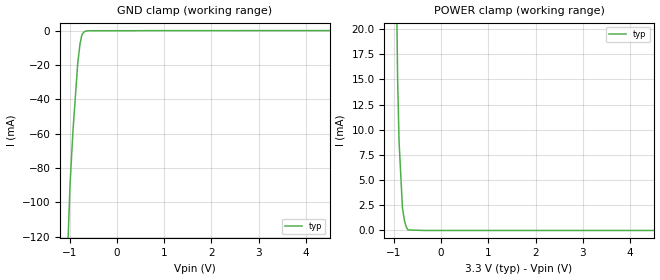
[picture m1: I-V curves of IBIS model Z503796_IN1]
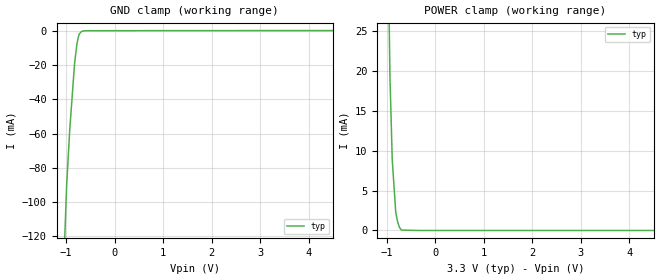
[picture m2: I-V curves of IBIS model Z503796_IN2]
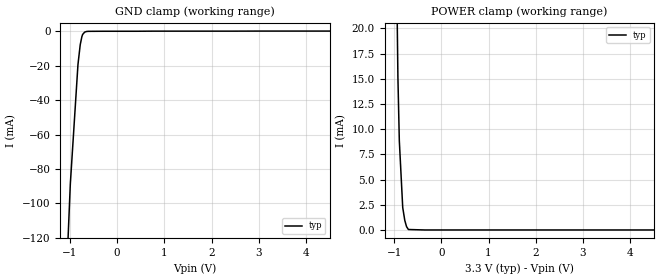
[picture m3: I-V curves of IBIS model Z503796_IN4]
| YOU ARE ONLY AUTHORIZED TO USE THIS SOFTWARE
| ACCORDING TO LICENSOR'S LICENSE RESTRICTIONS.
[IBIS Ver] 3.1
[File Name] mc74ac541n_33.ibs
[File Rev] 2.0
[Source] Measured and created by ICX Technology
[Date] Friday 7/14/00 9:08:00 AM
[Copyright]
| (C) COPYRIGHT 1993-2000
| MENTOR GRAPHICS CORPORATION
| ICX STANDARD LIBRARY, ICX PROJECT MODELING,
| ICX CUSTOM MODELING, ICX VENDOR MODEL
| ALL RIGHTS RESERVED.
| THE FOLLOWING ARE TRADEMARKS OR SERVICE MARKS OF
| MENTOR GRAPHICS CORPORATION:ICX (R), ICX STANDARD
| LIBRARY(R), ICX PROJECT MODELING(R), ICX CUSTOM
| MODELING(R), qualityIBIS(TM), MODELVIEWER(TM),
| AND MODELEDITOR(TM)
| ALL COPIES OF SOFTWARE, INCLUDING BUT NOT LIMITED TO
| ANY MODIFICATIONS, ENHANCEMENTS OR DERIVATIVE WORKS,
| MUST CONTAIN ALL MENTOR GRAPHICS CORPORATION'S
| NOTICES AND LEGENDS, INCLUDING THOSE EMBEDDED IN
| SOFTWARE AND THOSE AFFIXED TO SOFTWARE MEDIUM
| AND CONTAINER, AS RECEIVED FROM MENTOR GRAPHICS
| CORPORATION.
|  ZAP Model Builder 2.7
[Component] MC74AC541N_33
[Manufacturer] OnSemiconductor
[Package]
| variable   typ   min   max
R_pkg  .216ohms NA NA
L_pkg  5.76nH NA NA
C_pkg  1.29pF NA NA
[Pin] signal_name  model_name  R_pin  L_pin C_pin
1 _G1 Z503796_IN1 .232 9.76n 1.87p
2 A0 Z503796_IN2 .224 7.26n 1.58p
3 A1 Z503796_IN2 .216 5.26n 1.29p
4 A2 Z503796_IN2 .208 3.76n 1.0p
5 A3 Z503796_IN2 .2 2.76n .71p
6 A4 Z503796_IN2 .2 2.76n .71p
7 A5 Z503796_IN2 .208 3.76n 1.0p
8 A6 Z503796_IN2 .216 5.26n 1.29p
9 A7 Z503796_IN2 .224 7.26n 1.58p
10 GND GND .232 9.76n 1.87p
11 Y7 Z503796_TRI3 .232 9.76n 1.87p
12 Y6 Z503796_TRI3 .224 7.26n 1.58p
13 Y5 Z503796_TRI3 .216 5.26n 1.29p
14 Y4 Z503796_TRI3 .208 3.76n 1.0p
15 Y3 Z503796_TRI3 .2 2.76n .71p
16 Y2 Z503796_TRI3 .2 2.76n .71p
17 Y1 Z503796_TRI3 .208 3.76n 1.0p
18 Y0 Z503796_TRI3 .216 5.26n 1.29p
19 _G2 Z503796_IN4 .224 7.26n 1.58p
20 VCC POWER .232 9.76n 1.87p
| Models and submodels in the file (4): Z503796_IN1 (Input), Z503796_IN2 (Input), Z503796_IN4 (Input), Z503796_TRI3 (3-state)
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| (C) COPYRIGHT 1993-2000
| MENTOR GRAPHICS CORPORATION
| ICX STANDARD LIBRARY, ICX PROJECT MODELING,
| ICX CUSTOM MODELING, ICX VENDOR MODEL
| ALL RIGHTS RESERVED.
| THE FOLLOWING ARE TRADEMARKS OR SERVICE MARKS OF
| MENTOR GRAPHICS CORPORATION:ICX (R), ICX STANDARD
| LIBRARY(R), ICX PROJECT MODELING(R), ICX CUSTOM
| MODELING(R), qualityIBIS(TM), MODELVIEWER(TM),
| AND MODELEDITOR(TM)
| ALL COPIES OF SOFTWARE, INCLUDING BUT NOT LIMITED TO
| ANY MODIFICATIONS, ENHANCEMENTS OR DERIVATIVE WORKS,
| MUST CONTAIN ALL MENTOR GRAPHICS CORPORATION'S
| NOTICES AND LEGENDS, INCLUDING THOSE EMBEDDED IN
| SOFTWARE AND THOSE AFFIXED TO SOFTWARE MEDIUM
| AND CONTAINER, AS RECEIVED FROM MENTOR GRAPHICS
| CORPORATION.
| Model Application Version 1.89 2/18/99.
[Model] Z503796_IN1
Model_type Input
Vinl = 990.0mV
Vinh = 2.310V
C_comp 4.000pF NA NA
| variable typ   min   max
[Voltage Range] 3.300V NA NA
[GND Clamp Reference] 0.000V NA NA
[POWER Clamp Reference] 3.300V NA NA
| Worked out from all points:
|   GND clamp passes 1 mA (typ) near -0.71 V on its own axis
|   POWER clamp passes 1 mA (typ) near -0.78 V on its own axis
[GND Clamp]
-3.3V     -2.288A    NA         NA
-1.068V   -149.2mA   NA         NA
-990.9mV  -89.6mA    NA         NA
-927.6mV  -57.73mA   NA         NA
-828.8mV  -19.25mA   NA         NA
-781.2mV  -7.758mA   NA         NA
-747.3mV  -3.158mA   NA         NA
-730.7mV  -1.766mA   NA         NA
-687.2mV  -391.9uA   NA         NA
-610.2mV  85.06uA    NA         NA
-305.1mV  147.1uA    NA         NA
6.6V      227uA      NA         NA
[POWER Clamp]
-3.3V     2.248A     NA         NA
-1.117V   130.4mA    NA         NA
-1.006V   49.35mA    NA         NA
-920mV    15.26mA    NA         NA
-889mV    8.871mA    NA         NA
-817mV    2.24mA     NA         NA
-774mV    960uA      NA         NA
-736mV    346.9uA    NA         NA
-698mV    51uA       NA         NA
-349mV    0A         NA         NA
6.6V      0A         NA         NA
| (C) COPYRIGHT 1993-2000
| MENTOR GRAPHICS CORPORATION
| ICX STANDARD LIBRARY, ICX PROJECT MODELING,
| ICX CUSTOM MODELING, ICX VENDOR MODEL
| ALL RIGHTS RESERVED.
| THE FOLLOWING ARE TRADEMARKS OR SERVICE MARKS OF
| MENTOR GRAPHICS CORPORATION:ICX (R), ICX STANDARD
| LIBRARY(R), ICX PROJECT MODELING(R), ICX CUSTOM
| MODELING(R), qualityIBIS(TM), MODELVIEWER(TM),
| AND MODELEDITOR(TM)
| ALL COPIES OF SOFTWARE, INCLUDING BUT NOT LIMITED TO
| ANY MODIFICATIONS, ENHANCEMENTS OR DERIVATIVE WORKS,
| MUST CONTAIN ALL MENTOR GRAPHICS CORPORATION'S
| NOTICES AND LEGENDS, INCLUDING THOSE EMBEDDED IN
| SOFTWARE AND THOSE AFFIXED TO SOFTWARE MEDIUM
| AND CONTAINER, AS RECEIVED FROM MENTOR GRAPHICS
| CORPORATION.
| Model Application Version 1.89 2/18/99.
[Model] Z503796_IN2
Model_type Input
Vinl = 990.0mV
Vinh = 2.310V
C_comp 4.000pF NA NA
| variable typ   min   max
[Voltage Range] 3.300V NA NA
[GND Clamp Reference] 0.000V NA NA
[POWER Clamp Reference] 3.300V NA NA
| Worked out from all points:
|   GND clamp passes 1 mA (typ) near -0.71 V on its own axis
|   POWER clamp passes 1 mA (typ) near -0.77 V on its own axis
[GND Clamp]
-3.3V     -2.317A    NA         NA
-1.068V   -149.6mA   NA         NA
-990.7mV  -89.72mA   NA         NA
-927.6mV  -57.82mA   NA         NA
-829mV    -19.28mA   NA         NA
-781.1mV  -7.785mA   NA         NA
-747.2mV  -3.172mA   NA         NA
-730.7mV  -1.775mA   NA         NA
-687mV    -387.7uA   NA         NA
-610.3mV  88.87uA    NA         NA
-305.2mV  149.1uA    NA         NA
6.6V      231.6uA    NA         NA
[POWER Clamp]
-3.3V     2.094A     NA         NA
-1.109V   118.7mA    NA         NA
-1.007V   48.72mA    NA         NA
-936mV    19.24mA    NA         NA
-889mV    8.857mA    NA         NA
-817mV    2.263mA    NA         NA
-774mV    973.4uA    NA         NA
-736mV    339.5uA    NA         NA
-698mV    48.9uA     NA         NA
-349mV    0A         NA         NA
6.6V      0A         NA         NA
| (C) COPYRIGHT 1993-2000
| MENTOR GRAPHICS CORPORATION
| ICX STANDARD LIBRARY, ICX PROJECT MODELING,
| ICX CUSTOM MODELING, ICX VENDOR MODEL
| ALL RIGHTS RESERVED.
| THE FOLLOWING ARE TRADEMARKS OR SERVICE MARKS OF
| MENTOR GRAPHICS CORPORATION:ICX (R), ICX STANDARD
| LIBRARY(R), ICX PROJECT MODELING(R), ICX CUSTOM
| MODELING(R), qualityIBIS(TM), MODELVIEWER(TM),
| AND MODELEDITOR(TM)
| ALL COPIES OF SOFTWARE, INCLUDING BUT NOT LIMITED TO
| ANY MODIFICATIONS, ENHANCEMENTS OR DERIVATIVE WORKS,
| MUST CONTAIN ALL MENTOR GRAPHICS CORPORATION'S
| NOTICES AND LEGENDS, INCLUDING THOSE EMBEDDED IN
| SOFTWARE AND THOSE AFFIXED TO SOFTWARE MEDIUM
| AND CONTAINER, AS RECEIVED FROM MENTOR GRAPHICS
| CORPORATION.
| Model Application Version 1.89 2/18/99.
[Model] Z503796_IN4
Model_type Input
Vinl = 990.0mV
Vinh = 2.310V
C_comp 4.000pF NA NA
| variable typ   min   max
[Voltage Range] 3.300V NA NA
[GND Clamp Reference] 0.000V NA NA
[POWER Clamp Reference] 3.300V NA NA
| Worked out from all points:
|   GND clamp passes 1 mA (typ) near -0.71 V on its own axis
|   POWER clamp passes 1 mA (typ) near -0.77 V on its own axis
[GND Clamp]
-3.3V     -2.107A    NA         NA
-1.04V    -121.2mA   NA         NA
-991.1mV  -88.86mA   NA         NA
-828.9mV  -19.19mA   NA         NA
-781.1mV  -7.735mA   NA         NA
-747.4mV  -3.164mA   NA         NA
-730.9mV  -1.775mA   NA         NA
-687.3mV  -393.2uA   NA         NA
-610.3mV  77.24uA    NA         NA
-305.2mV  124uA      NA         NA
6.6V      229.8uA    NA         NA
[POWER Clamp]
-3.3V     2.188A     NA         NA
-1.109V   119.9mA    NA         NA
-1.007V   48.96mA    NA         NA
-919mV    15.18mA    NA         NA
-889mV    8.856mA    NA         NA
-817mV    2.23mA     NA         NA
-773mV    943.2uA    NA         NA
-736mV    331.9uA    NA         NA
-697mV    46.3uA     NA         NA
-348.5mV  0A         NA         NA
6.6V      0A         NA         NA
